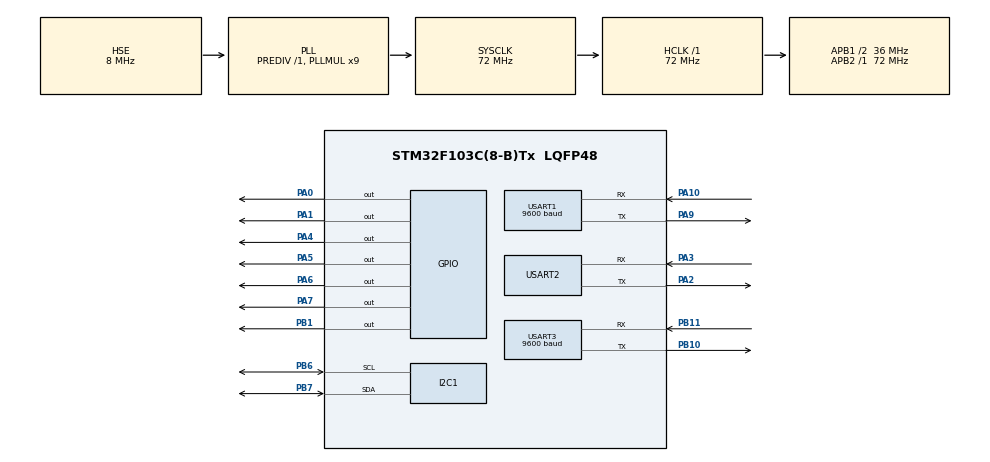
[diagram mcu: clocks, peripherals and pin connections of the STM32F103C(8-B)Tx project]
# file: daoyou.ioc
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Dma.Request0=USART2_RX
Dma.Request1=USART1_RX
Dma.USART1_RX.1.Direction=DMA_PERIPH_TO_MEMORY
Dma.USART1_RX.1.Instance=DMA1_Channel5
Dma.USART1_RX.1.MemDataAlignment=DMA_MDATAALIGN_BYTE
Dma.USART1_RX.1.MemInc=DMA_MINC_ENABLE
Dma.USART1_RX.1.Mode=DMA_NORMAL
Dma.USART1_RX.1.PeriphDataAlignment=DMA_PDATAALIGN_BYTE
Dma.USART1_RX.1.PeriphInc=DMA_PINC_DISABLE
Dma.USART1_RX.1.Priority=DMA_PRIORITY_LOW
Dma.USART2_RX.0.Direction=DMA_PERIPH_TO_MEMORY
Dma.USART2_RX.0.Instance=DMA1_Channel6
Dma.USART2_RX.0.MemDataAlignment=DMA_MDATAALIGN_BYTE
Dma.USART2_RX.0.MemInc=DMA_MINC_ENABLE
Dma.USART2_RX.0.Mode=DMA_NORMAL
Dma.USART2_RX.0.PeriphDataAlignment=DMA_PDATAALIGN_BYTE
Dma.USART2_RX.0.PeriphInc=DMA_PINC_DISABLE
Dma.USART2_RX.0.Priority=DMA_PRIORITY_LOW
Mcu.Family=STM32F1
Mcu.Name=STM32F103C(8-B)Tx
Mcu.Package=LQFP48
NVIC.DMA1_Channel5_IRQn=true\:0\:0\:false\:false\:true\:false
NVIC.DMA1_Channel6_IRQn=true\:0\:0\:false\:false\:true\:false
NVIC.PriorityGroup=NVIC_PRIORITYGROUP_4
NVIC.TIM1_BRK_IRQn=true\:0\:0\:false\:false\:true\:true
NVIC.TIM1_CC_IRQn=true\:0\:0\:false\:false\:true\:true
NVIC.TIM1_TRG_COM_IRQn=true\:0\:0\:false\:false\:true\:true
NVIC.TIM1_UP_IRQn=true\:0\:0\:false\:false\:true\:true
NVIC.USART1_IRQn=true\:0\:0\:false\:false\:true\:true
NVIC.USART2_IRQn=true\:0\:0\:false\:false\:true\:true
PA0-WKUP.Signal=GPIO_Output
PA1.Signal=GPIO_Output
PA10.Mode=Asynchronous
PA10.Signal=USART1_RX
PA13.Mode=Serial_Wire
PA13.Signal=SYS_JTMS-SWDIO
PA14.Mode=Serial_Wire
PA14.Signal=SYS_JTCK-SWCLK
PA2.Mode=Asynchronous
PA2.Signal=USART2_TX
PA3.Mode=Asynchronous
PA3.Signal=USART2_RX
PA4.Signal=GPIO_Output
PA5.Signal=GPIO_Output
PA6.Signal=GPIO_Output
PA7.Signal=GPIO_Output
PA9.Mode=Asynchronous
PA9.Signal=USART1_TX
PB1.Signal=GPIO_Output
PB10.Mode=Asynchronous
PB10.Signal=USART3_TX
PB11.Mode=Asynchronous
PB11.Signal=USART3_RX
PB6.Mode=I2C
PB6.Signal=I2C1_SCL
PB7.Mode=I2C
PB7.Signal=I2C1_SDA
PD0-OSC_IN.Mode=HSE-External-Oscillator
PD0-OSC_IN.Signal=RCC_OSC_IN
PD1-OSC_OUT.Mode=HSE-External-Oscillator
PD1-OSC_OUT.Signal=RCC_OSC_OUT
ProjectManager.HeapSize=0x200
ProjectManager.StackSize=0x400
ProjectManager.TargetToolchain=EWARM V7
RCC.AHBFreq_Value=72000000
RCC.APB1CLKDivider=RCC_HCLK_DIV2
RCC.APB1Freq_Value=36000000
RCC.APB1TimFreq_Value=72000000
RCC.APB2Freq_Value=72000000
RCC.APB2TimFreq_Value=72000000
RCC.HCLKFreq_Value=72000000
RCC.PLLMUL=RCC_PLL_MUL9
RCC.PLLSourceVirtual=RCC_PLLSOURCE_HSE
RCC.SYSCLKFreq_VALUE=72000000
RCC.SYSCLKSource=RCC_SYSCLKSOURCE_PLLCLK
RCC.USBFreq_Value=72000000
TIM1.Period=2000-1
TIM1.Prescaler=36000-1
USART1.BaudRate=9600
USART1.VirtualMode=VM_ASYNC
USART2.VirtualMode=VM_ASYNC
USART3.BaudRate=9600
USART3.VirtualMode=VM_ASYNC
VP_TIM1_VS_ClockSourceINT.Mode=Internal
board=custom

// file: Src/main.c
/**
  ******************************************************************************
  * @file           : main.c
  * @brief          : Main program body
  ******************************************************************************
  ** This notice applies to any and all portions of this file
  * that are not between comment pairs USER CODE BEGIN and
  * USER CODE END. Other portions of this file, whether
  * inserted by the user or by software development tools
  * are owned by their respective copyright owners.
  *
  * COPYRIGHT(c) 2019 STMicroelectronics
  *
  * Redistribution and use in source and binary forms, with or without modification,
  * are permitted provided that the following conditions are met:
  *   1. Redistributions of source code must retain the above copyright notice,
  *      this list of conditions and the following disclaimer.
  *   2. Redistributions in binary form must reproduce the above copyright notice,
  *      this list of conditions and the following disclaimer in the documentation
  *      and/or other materials provided with the distribution.
  *   3. Neither the name of STMicroelectronics nor the names of its contributors
  *      may be used to endorse or promote products derived from this software
  *      without specific prior written permission.
  *
  * THIS SOFTWARE IS PROVIDED BY THE COPYRIGHT HOLDERS AND CONTRIBUTORS "AS IS"
  * AND ANY EXPRESS OR IMPLIED WARRANTIES, INCLUDING, BUT NOT LIMITED TO, THE
  * IMPLIED WARRANTIES OF MERCHANTABILITY AND FITNESS FOR A PARTICULAR PURPOSE ARE
  * DISCLAIMED. IN NO EVENT SHALL THE COPYRIGHT HOLDER OR CONTRIBUTORS BE LIABLE
  * FOR ANY DIRECT, INDIRECT, INCIDENTAL, SPECIAL, EXEMPLARY, OR CONSEQUENTIAL
  * DAMAGES (INCLUDING, BUT NOT LIMITED TO, PROCUREMENT OF SUBSTITUTE GOODS OR
  * SERVICES; LOSS OF USE, DATA, OR PROFITS; OR BUSINESS INTERRUPTION) HOWEVER
  * CAUSED AND ON ANY THEORY OF LIABILITY, WHETHER IN CONTRACT, STRICT LIABILITY,
  * OR TORT (INCLUDING NEGLIGENCE OR OTHERWISE) ARISING IN ANY WAY OUT OF THE USE
  * OF THIS SOFTWARE, EVEN IF ADVISED OF THE POSSIBILITY OF SUCH DAMAGE.
  *
  ******************************************************************************
  */
#include "main.h"
#include "stm32f1xx_hal.h"
#include "dma.h"
#include "i2c.h"
#include "tim.h"
#include "usart.h"
#include "gpio.h"

/* USER CODE BEGIN Includes */
#include "BY8301.h"
#include "LCD1602.h"
#include "gps.h"
#include "string.h"
#include "geofence.h"
//#include "PN532.h"
/* USER CODE END Includes */

/* USER CODE BEGIN PV */
/* Private variables ---------------------------------------------------------*/

/* USER CODE END PV */

void SystemClock_Config(void);

/* USER CODE BEGIN PFP */
/* Private function prototypes -----------------------------------------------*/

/* USER CODE END PFP */

/* USER CODE BEGIN 0 */
 uint8_t GPS_MSG[500];
 uint8_t data[100];
 int len = 0;
 int delay_1s = 0;
 nmea_msg gpsx;
/* USER CODE END 0 */

int main(void)
{

  /* MCU Configuration----------------------------------------------------------*/

  /* Reset of all peripherals, Initializes the Flash interface and the Systick. */
  HAL_Init();

  /* Configure the system clock */
  SystemClock_Config();

  /* Initialize all configured peripherals */
  MX_GPIO_Init();
  MX_DMA_Init();
  MX_USART3_UART_Init();
  MX_I2C1_Init();
  MX_USART2_UART_Init();
  MX_USART1_UART_Init();
  MX_TIM1_Init();
  /* USER CODE BEGIN 2 */
  LCD_init(); //LCD1602初始化
  int i=0;
  uint8_t weak_up[]={0x55,0x55,0x00,0x00,0x00,0x00,0x00,0x00,0x00,0x00,0x00,0x00,0x00,0x00,0x00,0x00,0xFF,0x03,0xFD,0xD4,0x14,0x01,0x17,0x00}; //唤醒指令
  uint8_t data2[]={0x00,0x00,0xFF,0x04,0xFC,0xD4,0x4A,0x01,0x00,0xE1,0x00};  //ID卡扫描指令
  uint8_t card_1[]={0x00,0x00,0xFF,0x0C,0xF4,0xD5,0x4B,0x01,0x01,0x00,0x04,0x08,0x04,0x10,0x58,0x4C,0x63,0xB7,0x00};//卡1卡号
  uint8_t card_2[]={0x00,0x00,0xFF,0x0C,0xF4,0xD5,0x4B,0x01,0x01,0x00,0x04,0x08,0x04,0x3C,0x6D,0x56,0x1B,0xB4,0x00};//卡2卡号
  char latitude[20];//存储经度的字符串
  char longitude[20];//存储纬度的字符串
  int scenic = 0;    //景点标志，0：不在任意景点 1：处于午门 2：处于太和殿
  double fixed_flag=0;
  double dis_wumen; //保存到午门的距离
  double dis_taihe; //保存到太和殿的距离
  double dis_kunning;//保存到坤宁宫的距离
  double wumen_lat = 38.859236;//午门经度
  double wumen_lon = 121.509745;//午门纬度
  double taihe_lat = 38.858910;
  double taihe_lon = 121.510443;
  double kunning_lat = 38.858489;
  double kunning_lon = 121.509663;
  LCD_write_cmd(0x01);
  HAL_UART_Receive_DMA(&huart1, UART1_TYPE.usartDMA_rxBuf, RECEIVELEN);  //开启串口1DMA接收
  __HAL_UART_ENABLE_IT(&huart1, UART_IT_IDLE);
  HAL_UART_Receive_DMA(&huart2, data, RECEIVELEN);//开启串口2DMA接收
  __HAL_UART_ENABLE_IT(&huart2, UART_IT_IDLE);
  HAL_TIM_Base_Start_IT(&htim1);
 // BY8301_Play_Voice(0);
    HAL_UART_Transmit(&huart2,weak_up,24,1000);
    HAL_Delay(300);
    BY8301_Play_Voice(1);
    while(1) //循环读取卡片信息，读取到正确的卡片信息才会跳出
    {

        HAL_UART_Transmit(&huart2,data2,11,1000); //发送读卡指令
        HAL_Delay(180);
        LCD_write_string(1,1,"    Welcome     ");
        for(i=0;UART2_TYPE.usartDMA_rxBuf[i] == card_2[i];i++){} //判断读取到的卡号是否与保存的一致
        if( UART2_TYPE.rx_len == 19 && i < 19) //检测到卡号不一致
        {
          LCD_write_string(1,1,"   ERROR CARD   "); //串口屏显示错误的卡
          BY8301_Play_Voice(3);  //播放语言，错误的卡号
          HAL_Delay(2000);
        }
        if(i >= 19)
          break;
    }
    BY8301_Play_Voice(2); //播放开机语言
   LCD_write_string(3,1,"   HELLO   "); //串口屏显示HELLO
   HAL_Delay(2000);
   delay_1s=0;
 //    LCD_write_string(5,2,"shinobi");
  /* USER CODE END 2 */

  /* Infinite loop */
  /* USER CODE BEGIN WHILE */
  while (1)
  {

  // HAL_Delay(10);

    if(UART1_TYPE.receive_flag ==1)  //串口1接收到消息
   {
       for(i=0;i<68;i++)          //将受到的消息保存到一个字符串，便于解析
       {
         GPS_MSG[i]=UART1_TYPE.usartDMA_rxBuf[i];
       }
         NMEA_GNRMC_Analysis(&gpsx,GPS_MSG); //解析定位模块的消息
         sprintf(latitude,"%lf       ",(double)gpsx.latitude/10000000);   //经度转换成字符串形式
         sprintf(longitude,"%lf       ",(double)gpsx.longitude/10000000); //纬度转换成字符串形式

         memset(GPS_MSG, 0, sizeof(GPS_MSG));
   }
   if(gpsx.latitude!=0) //如果经度不为0，则定位成功
   {
    if(fixed_flag == 0)
    {
      fixed_flag = 1;
      BY8301_Play_Voice(4);

    }
    dis_wumen=get_distance((double)gpsx.latitude/10000000,(double)gpsx.longitude/10000000,wumen_lat,wumen_lon)*1000;//计算当前坐标到午门的距离
    dis_taihe=get_distance((double)gpsx.latitude/10000000,(double)gpsx.longitude/10000000,taihe_lat,taihe_lon)*1000;//计算当前坐标到太和殿的距离
    dis_kunning=get_distance((double)gpsx.latitude/10000000,(double)gpsx.longitude/10000000,kunning_lat,kunning_lon)*1000;
    if(dis_wumen<=30&&scenic != 1) //距离午门的距离小于30米
    {
        BY8301_Play_Voice(6); //播放午门的语言
        scenic = 1;   //位置标志置1，保证一个点只播放一次语音
    }
     if(dis_taihe<=30&&scenic != 2)//距离太和殿的距离小于30米
     {
        BY8301_Play_Voice(7);
        scenic = 2;
     }
     if(dis_kunning<=30&&scenic != 3)//距离坤宁宫的距离小于30米
     {
        BY8301_Play_Voice(8);
        scenic = 3;
     }

       if(scenic == 1 && delay_1s >=3)
   {
      LCD_write_string(1,1,"    welcome to   ");
      LCD_write_string(1,2,"      wumen      ");
   }
   if(scenic == 2 && delay_1s >=3)
   {
      LCD_write_string(1,1,"    welcome to   ");
      LCD_write_string(1,2,"    taihedian    ");
   }
      if(scenic == 3 && delay_1s >=3)
   {
      LCD_write_string(1,1,"    welcome to   ");
      LCD_write_string(1,2,"    kunninggong    ");
   }
   if(delay_1s<3)
   {
         LCD_write_string(1,1,latitude);  //显示屏打印经度
         LCD_write_string(1,2,longitude); //显示屏打印纬度
   }
  }

   if(gpsx.latitude == 0) //定位的坐标为0，这是没有信号
   {
  //  fixed_flag = 0;
    LCD_write_string(1,1,"    No Signal    ");
    LCD_write_string(1,2,"                 ");
   }

 //  }
 //  dis=get_distance()

   //if(UART2_TYPE.rx_len == 19)
  //   LCD_write_string(3,1,"   card   ");
  // else  LCD_write_string(3,1,"No card");
  /* USER CODE END WHILE */

  }

}

void SystemClock_Config(void)
{

  RCC_OscInitTypeDef RCC_OscInitStruct;
  RCC_ClkInitTypeDef RCC_ClkInitStruct;

    /**Initializes the CPU, AHB and APB busses clocks
    */
  RCC_OscInitStruct.OscillatorType = RCC_OSCILLATORTYPE_HSE;
  RCC_OscInitStruct.HSEState = RCC_HSE_ON;
  RCC_OscInitStruct.HSEPredivValue = RCC_HSE_PREDIV_DIV1;
  RCC_OscInitStruct.HSIState = RCC_HSI_ON;
  RCC_OscInitStruct.PLL.PLLState = RCC_PLL_ON;
  RCC_OscInitStruct.PLL.PLLSource = RCC_PLLSOURCE_HSE;
  RCC_OscInitStruct.PLL.PLLMUL = RCC_PLL_MUL9;
  if (HAL_RCC_OscConfig(&RCC_OscInitStruct) != HAL_OK)
  {
    _Error_Handler(__FILE__, __LINE__);
  }

    /**Initializes the CPU, AHB and APB busses clocks
    */
  RCC_ClkInitStruct.ClockType = RCC_CLOCKTYPE_HCLK|RCC_CLOCKTYPE_SYSCLK
                              |RCC_CLOCKTYPE_PCLK1|RCC_CLOCKTYPE_PCLK2;
  RCC_ClkInitStruct.SYSCLKSource = RCC_SYSCLKSOURCE_PLLCLK;
  RCC_ClkInitStruct.AHBCLKDivider = RCC_SYSCLK_DIV1;
  RCC_ClkInitStruct.APB1CLKDivider = RCC_HCLK_DIV2;
  RCC_ClkInitStruct.APB2CLKDivider = RCC_HCLK_DIV1;

  if (HAL_RCC_ClockConfig(&RCC_ClkInitStruct, FLASH_LATENCY_2) != HAL_OK)
  {
    _Error_Handler(__FILE__, __LINE__);
  }

    /**Configure the Systick interrupt time
    */
  HAL_SYSTICK_Config(HAL_RCC_GetHCLKFreq()/1000);

    /**Configure the Systick
    */
  HAL_SYSTICK_CLKSourceConfig(SYSTICK_CLKSOURCE_HCLK);

  /* SysTick_IRQn interrupt configuration */
  HAL_NVIC_SetPriority(SysTick_IRQn, 0, 0);
}

/* USER CODE BEGIN 4 */
void UsartReceive_IDLE(UART_HandleTypeDef *huart)
{
    uint32_t temp;

    if((__HAL_UART_GET_FLAG(huart,UART_FLAG_IDLE) != RESET))
    {
        __HAL_UART_CLEAR_IDLEFLAG(huart);
        temp = huart->hdmarx->Instance->CNDTR;
        HAL_UART_DMAStop(huart);
        if(huart->Instance == USART1)
	{
            UART1_TYPE.rx_len =  RECEIVELEN - temp;
            UART1_TYPE.receive_flag=  1;
            HAL_UART_Receive_DMA(&huart1,UART1_TYPE.usartDMA_rxBuf,RECEIVELEN);
	}
        else if(huart->Instance == USART2)
        {
            UART2_TYPE.rx_len =  RECEIVELEN - temp;
            UART2_TYPE.receive_flag = 1;
            HAL_UART_Receive_DMA(&huart2,UART2_TYPE.usartDMA_rxBuf,RECEIVELEN);
        }

    }
}
void HAL_TIM_PeriodElapsedCallback(TIM_HandleTypeDef *htim)
{

        if(htim->Instance == TIM1)
	{
          delay_1s++;
          if(delay_1s>=5)
            delay_1s=0;
        }

}
/* USER CODE END 4 */

void _Error_Handler(char *file, int line)
{
  while(1)
  {
  }
}

/************************ (C) COPYRIGHT STMicroelectronics *****END OF FILE****/
